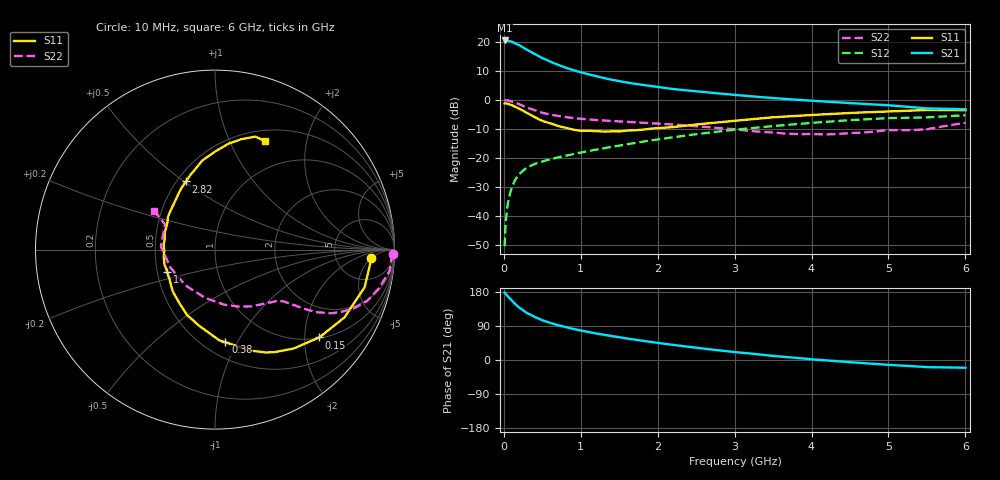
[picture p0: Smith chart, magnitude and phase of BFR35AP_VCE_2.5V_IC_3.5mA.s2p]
! (c) 2015  Infineon Technologies AG, Munich
! Infineon Technologies  Discrete & RF Semiconductors
! BFR35AP
! VCE =  2.5 V,  IC =  3.5 mA
! Common Emitter S-Parameters:  Nov 2015
# GHz  S  MA  R  50
!  f  S11  S21  S12  S22
! GHz  MAG  ANG  MAG  ANG  MAG  ANG  MAG  ANG
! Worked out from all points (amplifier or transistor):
!   210 points, 10 MHz to 6 GHz, reference 50 ohm
!   highest |S21| = 20.5 dB at 10 MHz (marker M1)
!   |S21| within 3 dB of that: start of sweep to 286.3 MHz
!   unconditionally stable (mu >= 1): 903.3 MHz to 3.932 GHz; 5.405 GHz to 5.735 GHz
!   at 185 MHz: K = 0.31, MSG = 22.6 dB, |S12| = -26.1 dB
!   at 1.52 GHz: K = 1.15, MAG = 8.7 dB, |S12| = -15.7 dB
!   at 6 GHz: K = 0.99, MSG = 1.0 dB, |S12| = -5.3 dB
!   S11 on the Smith chart (normalised r, x): 10 MHz: 13, -5; 150 MHz: 1.02, -2.36; 380 MHz: 0.63, -0.89; 1 GHz: 0.57, -0.15; 2.82 GHz: 0.56, +0.51; 6 GHz: 0.63, +1.37
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0.01  0.8692 -3.0  10.58 177.9  0.003 88.4  0.9937 -1.4
0.02  0.8672 -5.7  10.42 175.2  0.0059 85.1  0.9847 -2.7
0.045  0.8596 -12.7  10.49 169.6  0.0141 81.5  0.9803 -6.2
0.1  0.8143 -27.6  10.13 157.7  0.0296 75.5  0.94 -13.2
0.15  0.7598 -40.1  9.394 147.0  0.0423 69.0  0.8954 -18.6
0.2  0.7042 -51.5  8.797 138.3  0.0523 63.7  0.8397 -22.9
0.24  0.6609 -59.8  8.165 132.2  0.0588 60.3  0.795 -25.6
0.3  0.5965 -70.6  7.303 124.1  0.0678 57.0  0.7386 -28.7
0.38  0.5197 -83.6  6.408 116.1  0.0762 54.0  0.6762 -31.1
0.4  0.5054 -87.4  6.207 113.7  0.0783 53.3  0.6608 -31.8
0.5  0.4352 -101.3  5.261 104.7  0.0866 51.3  0.5984 -33.5
0.6  0.3963 -113.2  4.574 98.0  0.0941 50.6  0.5577 -34.5
0.8  0.3314 -135.2  3.597 86.7  0.1088 50.4  0.5057 -36.1
1  0.2934 -154.9  2.988 77.7  0.1231 51.3  0.4715 -37.5
1.02  0.2929 -156.6  2.941 77.0  0.1247 51.4  0.469 -37.7
1.4  0.2874 174.1  2.223 63.2  0.1542 51.8  0.4334 -42.4
2.02  0.3264 140.6  1.651 44.7  0.2097 50.5  0.3874 -53.0
2.82  0.4127 113.1  1.281 25.0  0.2877 44.7  0.324 -74.0
3.1  0.4481 106.2  1.187 19.1  0.3146 41.6  0.301 -84.1
4.1  0.5577 88.0  0.948 0.4  0.4098 29.9  0.2553 -135.4
5.1  0.6389 75.3  0.788 -13.9  0.4866 15.7  0.2996 172.0
6  0.6652 65.1  0.69 -20.4  0.5436 5.3  0.4021 147.6
